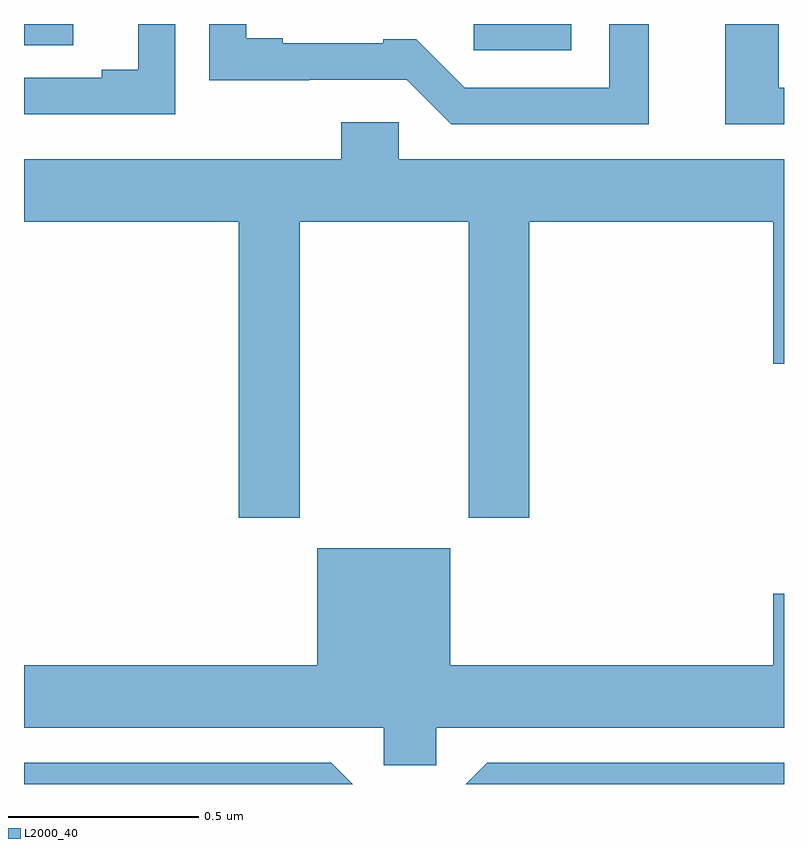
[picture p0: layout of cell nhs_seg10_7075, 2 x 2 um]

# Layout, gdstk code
import gdstk
lib = gdstk.Library(unit=1e-6, precision=1e-09)
def R(c, l, rs):  # rectangles x0, y0, x1, y1
    for r in rs: c.add(gdstk.rectangle(r[:2], r[2:], *l))
def P(c, l, *ps):  # polygons
    for p in ps: c.add(gdstk.Polygon(p, *l))
L2000_40 = (2000, 40)

nhs_seg10_7075 = lib.new_cell('nhs_seg10_7075')
R(nhs_seg10_7075, L2000_40, [(200.184,1303.431,200.44,1303.5), (199,1303.444,199.129,1303.5)])
P(nhs_seg10_7075, L2000_40, [(200.644,1303.5),(200.54,1303.5),(200.54,1303.332),(200.16,1303.332),(200.032,1303.46),(199.946,1303.46),(199.946,1303.449),(199.681,1303.449),(199.681,1303.462),(199.585,1303.462),(199.585,1303.5),(199.488,1303.5),(199.488,1303.352),(199.751,1303.352),(199.751,1303.353),(200.007,1303.353),(200.124,1303.236),(200.644,1303.236)],
  [(201,1303.332),(200.986,1303.332),(200.986,1303.5),(200.846,1303.5),(200.846,1303.236),(201,1303.236)],
  [(199.398,1303.5),(199.301,1303.5),(199.301,1303.379),(199.205,1303.379),(199.205,1303.359),(199,1303.359),(199,1303.263),(199.398,1303.263)],
  [(199.725,1302.98),(200.17,1302.98),(200.17,1302.201),(200.33,1302.201),(200.33,1302.98),(200.972,1302.98),(200.972,1302.606),(201,1302.606),(201,1303.144),(199.986,1303.144),(199.986,1303.242),(199.835,1303.242),(199.835,1303.144),(199,1303.144),(199,1302.98),(199.565,1302.98),(199.565,1302.201),(199.725,1302.201)],
  [(200.085,1301.648),(201,1301.648),(201,1302.001),(200.972,1302.001),(200.972,1301.812),(200.122,1301.812),(200.122,1302.121),(199.772,1302.121),(199.772,1301.812),(199,1301.812),(199,1301.648),(199.947,1301.648),(199.947,1301.55),(200.085,1301.55)],
  [(201,1301.556),(200.219,1301.556),(200.163,1301.5),(201,1301.5)],
  [(199.809,1301.556),(199,1301.556),(199,1301.5),(199.865,1301.5)])

lib.write_gds('nhs_seg10_7075.gds')
